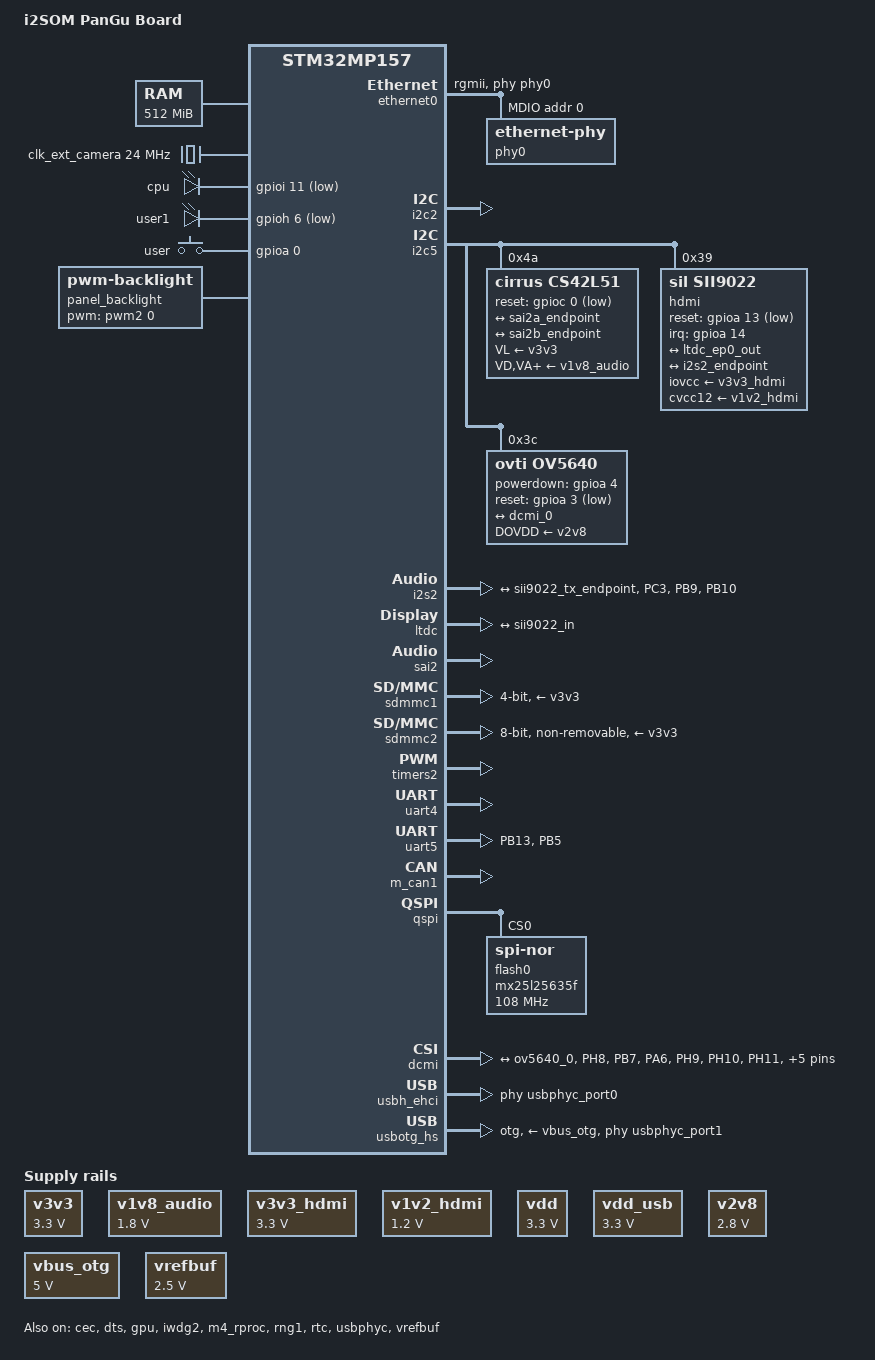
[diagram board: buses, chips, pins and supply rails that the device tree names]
// SPDX-License-Identifier: (GPL-2.0+ OR BSD-3-Clause)
/*
 * Copyright (C) STMicroelectronics 2018 - All Rights Reserved
 * Author: Alexandre Torgue <alexandre.torgue@st.com>.
 */

/dts-v1/;

#include "stm32mp157c.dtsi"
#include "stm32mp157c-m4-srm.dtsi"
#include "stm32mp157caa-pinctrl.dtsi"
#include <dt-bindings/gpio/gpio.h>
#include <dt-bindings/input/input.h>

/ {
	model = "i2SOM PanGu Board";
	compatible = "i2som,panguboard", "st,stm32mp157";

	aliases {
		ethernet0 = &ethernet0;
		serial0 = &uart4;
		serial1 = &uart5;
	};

	chosen {
		stdout-path = "serial0:115200n8";
	};

	memory@c0000000 {
		reg = <0xc0000000 0x20000000>;
	};

	reserved-memory {
		#address-cells = <1>;
		#size-cells = <1>;
		ranges;

		retram: retram@0x38000000 {
			compatible = "shared-dma-pool";
			reg = <0x38000000 0x10000>;
			no-map;
		};

		mcuram: mcuram@0x30000000 {
			compatible = "shared-dma-pool";
			reg = <0x30000000 0x40000>;
			no-map;
		};

		mcuram2: mcuram2@0x10000000 {
			compatible = "shared-dma-pool";
			reg = <0x10000000 0x40000>;
			no-map;
		};

		vdev0vring0: vdev0vring0@10040000 {
			compatible = "shared-dma-pool";
			reg = <0x10040000 0x2000>;
			no-map;
		};

		vdev0vring1: vdev0vring1@10042000 {
			compatible = "shared-dma-pool";
			reg = <0x10042000 0x2000>;
			no-map;
		};

		vdev0buffer: vdev0buffer@10044000 {
			compatible = "shared-dma-pool";
			reg = <0x10044000 0x4000>;
			no-map;
		};

		gpu_reserved: gpu@dc000000 {
			reg = <0xdc000000 0x4000000>;
			no-map;
		};
	};

	sram: sram@10050000 {
		compatible = "mmio-sram";
		reg = <0x10050000 0x10000>;
		#address-cells = <1>;
		#size-cells = <1>;
		ranges = <0 0x10050000 0x10000>;

		dma_pool: dma_pool@0 {
			reg = <0x0 0x10000>;
			pool;
		};
	};

	clocks {
		clk_ext_camera: clk-ext-camera {
			#clock-cells = <0>;
			compatible = "fixed-clock";
			clock-frequency = <24000000>;
		};
	};

	leds {
		compatible = "gpio-leds";
		cpu {
			label = "cpu";
			gpios = <&gpioi 11 GPIO_ACTIVE_LOW>;
			linux,default-trigger = "heartbeat";
			default-state = "on";
		};

		user1 {
			label = "user1";
			gpios = <&gpioh 6 GPIO_ACTIVE_LOW>;
			default-state = "off";
		};

	};

	keys {
		compatible = "gpio-keys";
		
		user {
			label = "user";
			gpios = <&gpioa 0 GPIO_ACTIVE_HIGH>;
			gpio-key,wakeup;
			linux,code = <KEY_ENTER>;
		};
	};

	sound {
		compatible = "audio-graph-card";
		label = "STM32MP1-DK";
		routing =
			"Playback" , "MCLK",
			"Capture" , "MCLK",
			"MICL" , "Mic Bias";
		dais = <&sai2a_port &sai2b_port &i2s2_port>;
		status = "okay";
	};

	usb_phy_tuning: usb-phy-tuning {
		st,hs-dc-level = <2>;
		st,fs-rftime-tuning;
		st,hs-rftime-reduction;
		st,hs-current-trim = <15>;
		st,hs-impedance-trim = <1>;
		st,squelch-level = <3>;
		st,hs-rx-offset = <2>;
		st,no-lsfs-sc;
	};

	v3v3: regulator-3p3v {
		compatible = "regulator-fixed";
		regulator-name = "v3v3";
		regulator-min-microvolt = <3300000>;
		regulator-max-microvolt = <3300000>;
		regulator-always-on;
		regulator-boot-on;
	};
	
	v1v8_audio: regulator-v1v8-audio {
		compatible = "regulator-fixed";
		regulator-name = "v1v8_audio";
		regulator-min-microvolt = <1800000>;
		regulator-max-microvolt = <1800000>;
		regulator-always-on;
		regulator-boot-on;
	};

	v3v3_hdmi: regulator-v3v3-hdmi {
		compatible = "regulator-fixed";
		regulator-name = "v3v3_hdmi";
		regulator-min-microvolt = <3300000>;
		regulator-max-microvolt = <3300000>;
		regulator-always-on;
		regulator-boot-on;
	};

	v1v2_hdmi: regulator-v1v2-hdmi {
		compatible = "regulator-fixed";
		regulator-name = "v1v2_hdmi";
		regulator-min-microvolt = <1200000>;
		regulator-max-microvolt = <1200000>;
		regulator-always-on;
		regulator-boot-on;
	};

	vdd: regulator-vdd {
		compatible = "regulator-fixed";
		regulator-name = "vdd";
		regulator-min-microvolt = <3300000>;
		regulator-max-microvolt = <3300000>;
		regulator-always-on;
		regulator-boot-on;
	};

	vdd_usb: regulator-vdd-usb {
		compatible = "regulator-fixed";
		regulator-name = "vdd_usb";
		regulator-min-microvolt = <3300000>;
		regulator-max-microvolt = <3300000>;
		regulator-always-on;
		regulator-boot-on;
	};

	v2v8: v2v8 {
		compatible = "regulator-fixed";
		regulator-name = "v2v8";
		regulator-min-microvolt = <2800000>;
		regulator-max-microvolt = <2800000>;
		regulator-always-on;
		regulator-boot-on;
	};

	vbus_otg: regulator-vbus-otg {
		compatible = "regulator-fixed";
		regulator-name = "vbus_otg";
		regulator-min-microvolt = <5000000>;
		regulator-max-microvolt = <5000000>;
		regulator-always-on;
		regulator-boot-on;
	};



	panel_backlight: panel-backlight {
		compatible = "pwm-backlight";
		pwms = <&pwm2 0 5000000>;
		brightness-levels = <0 4 8 16 32 64 128 255>;
		default-brightness-level = <6>;
		status = "okay";
	};
};

&pinctrl {
	pwm2_pins_b: pwm2-0 {
		pins {
			pinmux = <STM32_PINMUX('A', 5, AF1)>; /* TIM2_CH1 */
			bias-pull-down;
			drive-push-pull;
			slew-rate = <0>;
		};
	};

	pwm2_sleep_pins_b: pwm2-sleep-0 {
		pins {
			pinmux = <STM32_PINMUX('A', 5, ANALOG)>; /* TIM2_CH1 */
		};
	};

	i2s2_pins_b: i2s2-2 {
		pins {
			pinmux = <STM32_PINMUX('C', 3, AF5)>, /* I2S2_SDO */
				 <STM32_PINMUX('B', 9, AF5)>, /* I2S2_WS */
				 <STM32_PINMUX('B', 10, AF5)>; /* I2S2_CK */
			slew-rate = <1>;
			drive-push-pull;
			bias-disable;
		};
	};

	i2s2_pins_sleep_b: i2s2-3 {
		pins {
			pinmux = <STM32_PINMUX('C', 3, ANALOG)>, /* I2S2_SDO */
				 <STM32_PINMUX('B', 9, ANALOG)>, /* I2S2_WS */
				 <STM32_PINMUX('B', 10, ANALOG)>; /* I2S2_CK */
		};
	};

	uart5_pins_a: uart5-0 {
		pins1 {
			pinmux = <STM32_PINMUX('B', 13, AF14)>; /* UART5_TX */
			bias-disable;
			drive-push-pull;
			slew-rate = <0>;
		};
		pins2 {
			pinmux = <STM32_PINMUX('B', 5, AF12)>; /* UART5_RX */
			bias-disable;
		};
	};

	uart5_idle_pins_a: uart5-idle-0 {
		pins1 {
			pinmux = <STM32_PINMUX('B', 13, ANALOG)>; /* UART5_TX */
		};
		pins2 {
			pinmux = <STM32_PINMUX('B', 5, AF7)>; /* UART5_RX */
			bias-disable;
		};
	};

	uart5_sleep_pins_a: uart5-sleep-0 {
		pins {
			pinmux = <STM32_PINMUX('B', 13, ANALOG)>, /* UART5_TX */
				 <STM32_PINMUX('B', 5, ANALOG)>; /* UART5_RX */
		};
	};

	dcmi_pins_b: dcmi-1 {
				pins {
					pinmux = <STM32_PINMUX('H', 8,  AF13)>,/* DCMI_HSYNC */
						 <STM32_PINMUX('B', 7,  AF13)>,/* DCMI_VSYNC */
						 <STM32_PINMUX('A', 6,  AF13)>,/* DCMI_PIXCLK */
						 <STM32_PINMUX('H', 9,  AF13)>,/* DCMI_D0 */
						 <STM32_PINMUX('H', 10, AF13)>,/* DCMI_D1 */
						 <STM32_PINMUX('H', 11, AF13)>,/* DCMI_D2 */
						 <STM32_PINMUX('H', 12, AF13)>,/* DCMI_D3 */
						 <STM32_PINMUX('H', 14, AF13)>,/* DCMI_D4 */
						 <STM32_PINMUX('I', 4,  AF13)>,/* DCMI_D5 */
						 <STM32_PINMUX('B', 8,  AF13)>,/* DCMI_D6 */
						 <STM32_PINMUX('E', 6,  AF13)>;/* DCMI_D7 */
					bias-disable;
				};
			};

			dcmi_sleep_pins_b: dcmi-sleep-1 {
				pins {
					pinmux = <STM32_PINMUX('H', 8,  ANALOG)>,/* DCMI_HSYNC */
						 <STM32_PINMUX('B', 7,  ANALOG)>,/* DCMI_VSYNC */
						 <STM32_PINMUX('A', 6,  ANALOG)>,/* DCMI_PIXCLK */
						 <STM32_PINMUX('H', 9,  ANALOG)>,/* DCMI_D0 */
						 <STM32_PINMUX('H', 10, ANALOG)>,/* DCMI_D1 */
						 <STM32_PINMUX('H', 11, ANALOG)>,/* DCMI_D2 */
						 <STM32_PINMUX('H', 12, ANALOG)>,/* DCMI_D3 */
						 <STM32_PINMUX('H', 14, ANALOG)>,/* DCMI_D4 */
						 <STM32_PINMUX('I', 4,  ANALOG)>,/* DCMI_D5 */
						 <STM32_PINMUX('B', 8,  ANALOG)>,/* DCMI_D6 */
						 <STM32_PINMUX('E', 6,  ANALOG)>;/* DCMI_D7 */
				};
			};

};

&cec {
	pinctrl-names = "default", "sleep";
	pinctrl-0 = <&cec_pins_a>;
	pinctrl-1 = <&cec_pins_sleep_a>;
	status = "okay";
};

&dma1 {
	sram = <&dma_pool>;
};

&dma2 {
	sram = <&dma_pool>;
};

&dts {
	status = "okay";
};

&ethernet0 {
	pinctrl-0 = <&ethernet0_rgmii_pins_a>;
	pinctrl-1 = <&ethernet0_rgmii_pins_sleep_a>;
	pinctrl-names = "default", "sleep";
	phy-mode = "rgmii";
	max-speed = <1000>;
	phy-handle = <&phy0>;
	status = "okay";

	mdio0 {
		#address-cells = <1>;
		#size-cells = <0>;
		compatible = "snps,dwmac-mdio";
		phy0: ethernet-phy@0 {
			reg = <0>;
		};
	};
};

&gpu {
	contiguous-area = <&gpu_reserved>;
	status = "okay";
};

&i2c2 {
	pinctrl-names = "default", "sleep";
	pinctrl-0 = <&i2c2_pins_a>;
	pinctrl-1 = <&i2c2_pins_sleep_a>;
	i2c-scl-rising-time-ns = <100>;
	i2c-scl-falling-time-ns = <7>;
	status = "okay";
	/delete-property/dmas;
	/delete-property/dma-names;

/*
	tsc2007: tsc2007@48 {
		compatible = "ti,tsc2007";
		reg = <0x48>;
		interrupt-parent = <&gpioi>;
		interrupts = <8 IRQ_TYPE_EDGE_FALLING>;
		interrupt-controller;
		gpios = <&gpioi 8 GPIO_ACTIVE_LOW>;
		ti,x-plate-ohms = <660>;
	};
*/
};

&i2c5 {
	pinctrl-names = "default", "sleep";
	pinctrl-0 = <&i2c5_pins_a>;
	pinctrl-1 = <&i2c5_pins_sleep_a>;
	i2c-scl-rising-time-ns = <100>;
	i2c-scl-falling-time-ns = <7>;
	status = "okay";
	/delete-property/dmas;
	/delete-property/dma-names;

	cs42l51: cs42l51@4a {
		compatible = "cirrus,cs42l51";
		reg = <0x4a>;
		#sound-dai-cells = <0>;
		status = "okay";

		VL-supply = <&v3v3>;
		VD-supply = <&v1v8_audio>;
		VA-supply = <&v1v8_audio>;
		VAHP-supply = <&v1v8_audio>;

		reset-gpios = <&gpioc 0 GPIO_ACTIVE_LOW>;

		clocks = <&sai2a>;
		clock-names = "MCLK";

		cs42l51_port: port {
			#address-cells = <1>;
			#size-cells = <0>;

			cs42l51_tx_endpoint: endpoint@0 {
				reg = <0>;
				remote-endpoint = <&sai2a_endpoint>;
				frame-master;
				bitclock-master;
			};

			cs42l51_rx_endpoint: endpoint@1 {
				reg = <1>;
				remote-endpoint = <&sai2b_endpoint>;
				frame-master;
				bitclock-master;
			};
		};
	};

	hdmi: hdmi-transmitter@39 {
		compatible = "sil,sii9022";
		reg = <0x39>;
		iovcc-supply = <&v3v3_hdmi>;
		cvcc12-supply = <&v1v2_hdmi>;
		reset-gpios = <&gpioa 13 GPIO_ACTIVE_LOW>;
		interrupts = <14 IRQ_TYPE_EDGE_FALLING>;
		interrupt-parent = <&gpioa>;
		pinctrl-names = "default", "sleep";
		pinctrl-0 = <&ltdc_pins_b>;
		pinctrl-1 = <&ltdc_pins_sleep_b>;
		status = "okay";

		ports {
			#address-cells = <1>;
			#size-cells = <0>;

			port@0 {
				reg = <0>;
				sii9022_in: endpoint {
					remote-endpoint = <&ltdc_ep0_out>;
				};
			};

			port@1 {
				reg = <1>;
				sii9022_tx_endpoint: endpoint {
					remote-endpoint = <&i2s2_endpoint>;
				};
			};
		};
	};

	ov5640: camera@3c {
		compatible = "ovti,ov5640";
		reg = <0x3c>;
		clocks = <&clk_ext_camera>;
		clock-names = "xclk";
		DOVDD-supply = <&v2v8>;
		powerdown-gpios = <&gpioa 4 GPIO_ACTIVE_HIGH>;
		reset-gpios = <&gpioa 3 GPIO_ACTIVE_LOW>;
		rotation = <180>;
		status = "okay";

		port {
			ov5640_0: endpoint {
				remote-endpoint = <&dcmi_0>;
				bus-width = <8>;
				data-shift = <2>; /* lines 9:2 are used */
				hsync-active = <0>;
				vsync-active = <0>;
				pclk-sample = <1>;
				pclk-max-frequency = <77000000>;
			};
		};
	};
};

&i2s2 {
	clocks = <&rcc SPI2>, <&rcc SPI2_K>, <&rcc PLL3_Q>, <&rcc PLL3_R>;
	clock-names = "pclk", "i2sclk", "x8k", "x11k";
	pinctrl-names = "default", "sleep";
	pinctrl-0 = <&i2s2_pins_b>;
	pinctrl-1 = <&i2s2_pins_sleep_b>;
	status = "okay";

	i2s2_port: port {
		i2s2_endpoint: endpoint {
			remote-endpoint = <&sii9022_tx_endpoint>;
			format = "i2s";
			mclk-fs = <256>;
		};
	};

};

&ipcc {
	status = "okay";
};

&iwdg2 {
	timeout-sec = <32>;
	status = "okay";
};

&ltdc {
	status = "okay";

	port {
		#address-cells = <1>;
		#size-cells = <0>;

		ltdc_ep0_out: endpoint@0 {
			reg = <0>;
			remote-endpoint = <&sii9022_in>;
		};
	};
};

&m4_rproc {
	memory-region = <&retram>, <&mcuram>, <&mcuram2>, <&vdev0vring0>,
			<&vdev0vring1>, <&vdev0buffer>;
	mboxes = <&ipcc 0>, <&ipcc 1>, <&ipcc 2>;
	mbox-names = "vq0", "vq1", "shutdown";
	interrupt-parent = <&exti>;
	interrupts = <68 1>;
	interrupt-names = "wdg";
	recovery;
	status = "okay";
};

&pwr {
	pwr-supply = <&vdd>;
};

&rng1 {
	status = "okay";
};

&rtc {
	status = "okay";
};

&sai2 {
	clocks = <&rcc SAI2>, <&rcc PLL3_Q>, <&rcc PLL3_R>;
	clock-names = "pclk", "x8k", "x11k";
	pinctrl-names = "default", "sleep";
	pinctrl-0 = <&sai2a_pins_a>, <&sai2b_pins_b>;
	pinctrl-1 = <&sai2a_sleep_pins_a>, <&sai2b_sleep_pins_b>;
	status = "okay";

	sai2a: audio-controller@4400b004 {
		#clock-cells = <0>;
		dma-names = "tx";
		clocks = <&rcc SAI2_K>;
		clock-names = "sai_ck";
		status = "okay";

		sai2a_port: port {
			sai2a_endpoint: endpoint {
				remote-endpoint = <&cs42l51_tx_endpoint>;
				format = "i2s";
				mclk-fs = <256>;
				dai-tdm-slot-num = <2>;
				dai-tdm-slot-width = <32>;
			};
		};
	};

	sai2b: audio-controller@4400b024 {
		dma-names = "rx";
		st,sync = <&sai2a 2>;
		status = "okay";
		clocks = <&rcc SAI2_K>, <&sai2a>;
		clock-names = "sai_ck", "MCLK";

		sai2b_port: port {
			sai2b_endpoint: endpoint {
				remote-endpoint = <&cs42l51_rx_endpoint>;
				format = "i2s";
				mclk-fs = <256>;
				dai-tdm-slot-num = <2>;
				dai-tdm-slot-width = <32>;
			};
		};
	};
};

&sdmmc1 {
	pinctrl-names = "default", "opendrain", "sleep";
	pinctrl-0 = <&sdmmc1_b4_pins_a>;
	pinctrl-1 = <&sdmmc1_b4_od_pins_a>;
	pinctrl-2 = <&sdmmc1_b4_sleep_pins_a>;
	broken-cd;
	st,neg-edge;
	bus-width = <4>;
	vmmc-supply = <&v3v3>;
	status = "okay";
};

/* emmc */
&sdmmc2 {
	pinctrl-names = "default", "opendrain", "sleep";
	pinctrl-0 = <&sdmmc2_b4_pins_b &sdmmc2_d47_pins_a>;
	pinctrl-1 = <&sdmmc2_b4_od_pins_b>;
	pinctrl-2 = <&sdmmc2_b4_sleep_pins_a &sdmmc2_d47_sleep_pins_a>;
	non-removable;
	st,neg-edge;
	bus-width = <8>;
	vmmc-supply = <&v3v3>;
	keep-power-in-suspend;
	status = "okay";
};

&spi4 {
	pinctrl-names = "default", "sleep";
	pinctrl-0 = <&spi4_pins_a>;
	pinctrl-1 = <&spi4_sleep_pins_a>;
	status = "disabled";
};

&spi5 {
	pinctrl-names = "default", "sleep";
	pinctrl-0 = <&spi5_pins_a>;
	pinctrl-1 = <&spi5_sleep_pins_a>;
	status = "disabled";
};

&timers2 {
	status = "okay";
	/* spare dmas for other usage */
	/delete-property/dmas;
	/delete-property/dma-names;
	pwm2: pwm {
		pinctrl-0 = <&pwm2_pins_b>;
		pinctrl-1 = <&pwm2_sleep_pins_b>;
		pinctrl-names = "default", "sleep";
		#pwm-cells = <2>;
		status = "okay";
	};
	timer@1 {
		status = "disabled";
	};
};

&uart4 {
	pinctrl-names = "default", "sleep", "idle", "no_console_suspend";
	pinctrl-0 = <&uart4_pins_a>;
	pinctrl-1 = <&uart4_sleep_pins_a>;
	pinctrl-2 = <&uart4_idle_pins_a>;
	pinctrl-3 = <&uart4_pins_a>;
	status = "okay";
};

&uart5 {
	pinctrl-names = "default", "sleep", "idle";
	pinctrl-0 = <&uart5_pins_a>;
	pinctrl-1 = <&uart5_sleep_pins_a>;
	pinctrl-2 = <&uart5_idle_pins_a>;
	status = "okay";
};

&m_can1 {
	pinctrl-names = "default", "sleep";
	pinctrl-0 = <&m_can1_pins_a>;
	pinctrl-1 = <&m_can1_sleep_pins_a>;
	status = "okay";
};

&qspi {
	pinctrl-names = "default", "sleep";
	pinctrl-0 = <&qspi_clk_pins_a &qspi_bk1_pins_a>;
	pinctrl-1 = <&qspi_clk_sleep_pins_a &qspi_bk1_sleep_pins_a>;
	reg = <0x58003000 0x1000>, <0x70000000 0x4000000>;
	#address-cells = <1>;
	#size-cells = <0>;
	status = "okay";

	flash0: mx25l25635f@0 {
		compatible = "jedec,spi-nor";
		reg = <0>;
		spi-rx-bus-width = <4>;
		spi-max-frequency = <108000000>;
		#address-cells = <1>;
		#size-cells = <1>;
	};
};

&dcmi {
	status = "okay";
	pinctrl-names = "default", "sleep";
	pinctrl-0 = <&dcmi_pins_b>;
	pinctrl-1 = <&dcmi_sleep_pins_b>;

	port {
		dcmi_0: endpoint {
			remote-endpoint = <&ov5640_0>;
			bus-width = <8>;
			hsync-active = <0>;
			vsync-active = <0>;
			pclk-sample = <1>;
			pclk-max-frequency = <77000000>;
		};
	};
};

&usbh_ehci {
	phys = <&usbphyc_port0>;
	phy-names = "usb";
	status = "okay";
};

&usbotg_hs {
	pinctrl-names = "default";
	pinctrl-0 = <&usbotg_hs_pins_a>;
	dr_mode = "otg";
	phys = <&usbphyc_port1 0>;
	phy-names = "usb2-phy";
	vbus-supply = <&vbus_otg>;
	status = "okay";
};

&usbphyc {
	vdd3v3-supply = <&vdd_usb>;
	status = "okay";
};

&usbphyc_port0 {
	st,phy-tuning = <&usb_phy_tuning>;
};

&usbphyc_port1 {
	st,phy-tuning = <&usb_phy_tuning>;
};

&vrefbuf {
	regulator-min-microvolt = <2500000>;
	regulator-max-microvolt = <2500000>;
	vdda-supply = <&vdd>;
	status = "okay";
};
